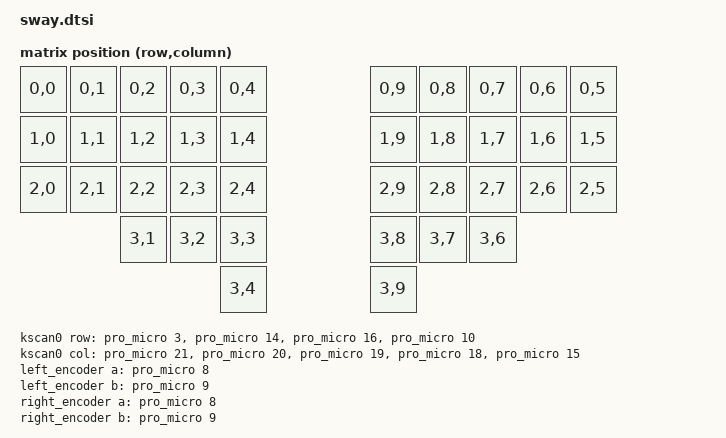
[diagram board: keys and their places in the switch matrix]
#include <dt-bindings/zmk/matrix_transform.h> // Put this with the other includes at the top of your dtsi
// #include "modules/drv2605l.dtsi"
#include "modules/niceview.dtsi"
// #include "modules/cirque.dtsi"
#include "sway-layouts.dtsi"

/ {

    default_transform: keymap_transform0 {
        compatible = "zmk,matrix-transform";
        columns = <10>;
        rows = <4>;
        map = <
        //  0       1       2       3       4                           5       6       7       8       9
            RC(0,0) RC(0,1) RC(0,2) RC(0,3) RC(0,4)                     RC(0,9) RC(0,8) RC(0,7) RC(0,6) RC(0,5)
        //  10      11      12      13      14                          15      16      17      18      19 
            RC(1,0) RC(1,1) RC(1,2) RC(1,3) RC(1,4)                     RC(1,9) RC(1,8) RC(1,7) RC(1,6) RC(1,5)
        //  20      21      22      23      24                          25      26      27      28      29
            RC(2,0) RC(2,1) RC(2,2) RC(2,3) RC(2,4)                     RC(2,9) RC(2,8) RC(2,7) RC(2,6) RC(2,5)
        //                  30      31      32                          33      34      35          
                            RC(3,1) RC(3,2) RC(3,3)                     RC(3,8) RC(3,7) RC(3,6)
        //                                  36 encoder                  37 encoder
                                            RC(3,4)                     RC(3,9)
        >;
    };

    kscan0: kscan0 {
        compatible = "zmk,kscan-gpio-matrix";
        diode-direction = "col2row";
        wakeup-source;

        col-gpios
            = <&pro_micro  21 GPIO_ACTIVE_HIGH>
            , <&pro_micro  20 GPIO_ACTIVE_HIGH>
            , <&pro_micro  19 GPIO_ACTIVE_HIGH>
            , <&pro_micro  18 GPIO_ACTIVE_HIGH>
            , <&pro_micro  15 GPIO_ACTIVE_HIGH>
            ;
        
        row-gpios
            = <&pro_micro 3 (GPIO_ACTIVE_HIGH | GPIO_PULL_DOWN)>
            , <&pro_micro 14 (GPIO_ACTIVE_HIGH | GPIO_PULL_DOWN)>
            , <&pro_micro 16 (GPIO_ACTIVE_HIGH | GPIO_PULL_DOWN)>
            , <&pro_micro 10 (GPIO_ACTIVE_HIGH | GPIO_PULL_DOWN)>
            ;

    };

    left_encoder: encoder_left {
        compatible = "alps,ec11";
        a-gpios = <&pro_micro 8 (GPIO_ACTIVE_HIGH | GPIO_PULL_UP)>;
        b-gpios = <&pro_micro 9 (GPIO_ACTIVE_HIGH | GPIO_PULL_UP)>;
        steps = <30>;
        status = "disabled";
    };


    right_encoder: encoder_right {
        compatible = "alps,ec11";
        a-gpios = <&pro_micro 8 (GPIO_ACTIVE_HIGH | GPIO_PULL_UP)>;
        b-gpios = <&pro_micro 9 (GPIO_ACTIVE_HIGH | GPIO_PULL_UP)>;
        steps = <30>;
        status = "disabled";
    };

    sensors: sensors {
        compatible = "zmk,keymap-sensors";
        sensors = <&left_encoder &right_encoder>;
        triggers-per-rotation = <15>;
    };

    // glidepoint_listener: glidepoint_listener {
    //     compatible = "zmk,input-listener";
    //     status = "disabled";
    // };


    chosen {
        zephyr,display = &nice_view;
        zmk,battery,physical-layout = &sway_physical_layout;
        zmk,underglow = &led_strip;
        // Other chosen items
    };
};
